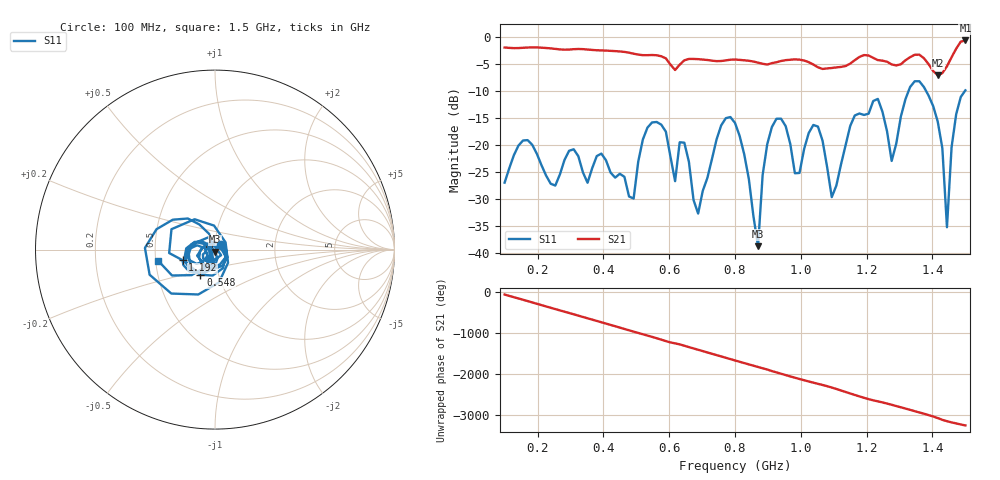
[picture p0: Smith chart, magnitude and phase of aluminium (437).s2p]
! NanoVNA-App
! Date: 2025-09-25 14:58:41
! Start: 100MHz Stop: 1,5GHz Points: 101
! S-Parameter data: F S11 S21 S12 S22
# Hz S RI R 50
!  Frequency  S11_Real  S11_Imag  S21_Real  S21_Imag  S12_Real  S12_Imag  S22_Real  S22_Imag
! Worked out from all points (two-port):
!   101 points, 100 MHz to 1.5 GHz, reference 50 ohm
!   highest |S21| = -0.61 dB at 1.5 GHz (marker M1); lowest = -7.1 dB at 1.416 GHz (marker M2)
!   |S21| within 3 dB of the highest: start of sweep to 578.5 MHz; 1.459 GHz to end of sweep (the widest 2 of 4)
!   lowest |S11| = -38.7 dB at 870 MHz (marker M3), VSWR 1.02, Z = 50.2 - j1.15 ohm
!   |S11| at or under -10 dB: start of sweep to 1.327 GHz; 1.381 GHz to 1.498 GHz (117.6 MHz wide, 8.17 % of centre)
!   S12 and S22 are empty: the file has one direction only
!   S11 on the Smith chart (normalised r, x): 100 MHz: 1.07, +0.06; 548 MHz: 0.82, -0.24; 1.192 GHz: 0.69, -0.08; 1.5 GHz: 0.52, -0.07
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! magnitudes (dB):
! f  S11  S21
! 100 MHz  -27.0  -1.9
! 156 MHz  -19.1  -2.0
! 338 MHz  -25.1  -2.2
! 492 MHz  -29.9  -3.1
! 548 MHz  -15.8  -3.3
! 576 MHz  -16.2  -3.5
! 646 MHz  -19.6  -4.3
! 688 MHz  -32.7  -4.1
! 800 MHz  -15.9  -4.2
! 870 MHz  -38.7  -4.7
! 912 MHz  -16.7  -4.8
! 982 MHz  -25.2  -4.1
! 1.038 GHz  -16.3  -5.1
! 1.094 GHz  -29.6  -5.7
! 1.192 GHz  -14.4  -3.3
! 1.234 GHz  -11.4  -4.3
! 1.276 GHz  -22.9  -5.1
! 1.346 GHz  -8.2  -3.3
! 1.416 GHz  -15.7  -7.1
! 1.444 GHz  -35.2  -5.4
! 1.458 GHz  -20.4  -3.7
! 1.5 GHz  -9.9  -0.6
